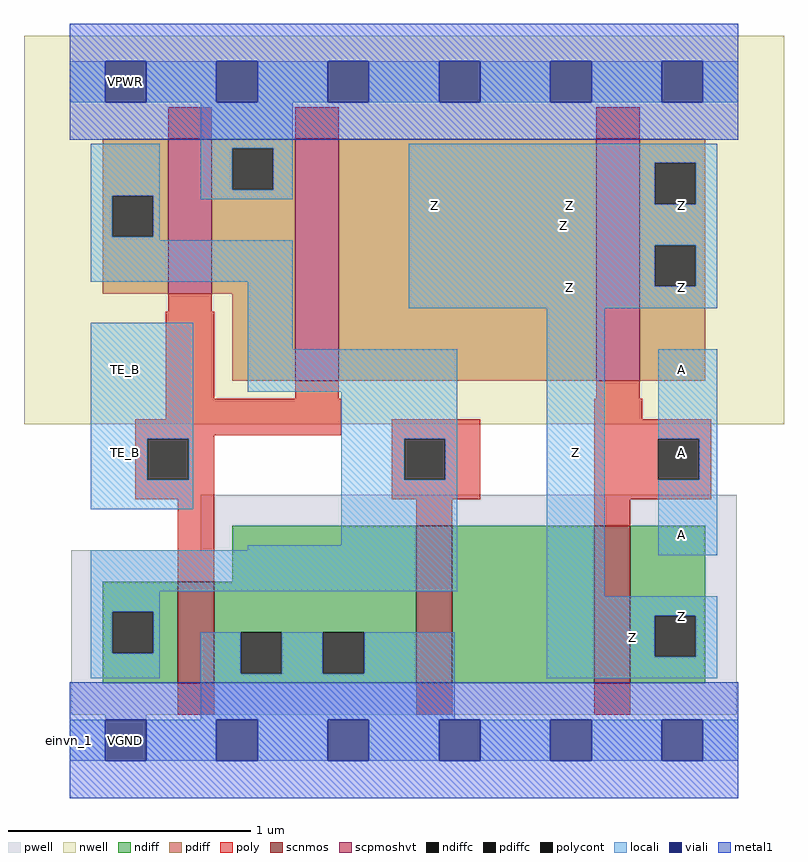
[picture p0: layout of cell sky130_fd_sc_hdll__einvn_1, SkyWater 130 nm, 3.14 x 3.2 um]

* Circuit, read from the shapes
.subckt sky130_fd_sc_hdll__einvn_1 A TE_B VGND VNB VPB VPWR Z
XM1 VGND TE_B n1 VNB sky130_fd_pr__nfet_01v8 w=0.42 l=0.15
XM2 n2 n1 VGND VNB sky130_fd_pr__nfet_01v8 w=0.65 l=0.15
XM3 Z A n2 VNB sky130_fd_pr__nfet_01v8 w=0.65 l=0.15
XM4 VPWR TE_B n1 VPB sky130_fd_pr__pfet_01v8_hvt w=0.64 l=0.18
XM5 n3 TE_B VPWR VPB sky130_fd_pr__pfet_01v8_hvt w=1 l=0.18
XM6 Z A n3 VPB sky130_fd_pr__pfet_01v8_hvt w=1 l=0.18
.ends

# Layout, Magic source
magic
tech sky130A
magscale 1 2
<< nwell >>
rect -38 261 590 582
<< pwell >>
rect 108 157 551 203
rect 1 21 551 157
rect 29 -17 63 21
<< scnmos >>
rect 89 47 119 131
rect 286 47 316 177
rect 433 47 463 177
<< scpmoshvt >>
rect 81 369 117 497
rect 186 297 222 497
rect 435 297 471 497
<< ndiff >>
rect 134 131 286 177
rect 27 106 89 131
rect 27 72 35 106
rect 69 72 89 106
rect 27 47 89 72
rect 119 89 286 131
rect 119 55 141 89
rect 175 55 209 89
rect 243 55 286 89
rect 119 47 286 55
rect 316 47 433 177
rect 463 103 525 177
rect 463 69 483 103
rect 517 69 525 103
rect 463 47 525 69
<< pdiff >>
rect 27 450 81 497
rect 27 416 35 450
rect 69 416 81 450
rect 27 369 81 416
rect 117 489 186 497
rect 117 455 134 489
rect 168 455 186 489
rect 117 369 186 455
rect 134 297 186 369
rect 222 297 435 497
rect 471 477 525 497
rect 471 443 483 477
rect 517 443 525 477
rect 471 409 525 443
rect 471 375 483 409
rect 517 375 525 409
rect 471 297 525 375
<< ndiffc >>
rect 35 72 69 106
rect 141 55 175 89
rect 209 55 243 89
rect 483 69 517 103
<< pdiffc >>
rect 35 416 69 450
rect 134 455 168 489
rect 483 443 517 477
rect 483 375 517 409
<< poly >>
rect 81 497 117 523
rect 186 497 222 523
rect 435 497 471 523
rect 81 354 117 369
rect 79 282 119 354
rect 186 282 222 297
rect 435 282 471 297
rect 79 265 224 282
rect 433 265 473 282
rect 54 252 224 265
rect 54 249 119 252
rect 54 215 64 249
rect 98 215 119 249
rect 54 199 119 215
rect 266 249 339 265
rect 266 215 276 249
rect 310 215 339 249
rect 266 199 339 215
rect 433 249 530 265
rect 433 215 486 249
rect 520 215 530 249
rect 433 199 530 215
rect 89 131 119 199
rect 286 177 316 199
rect 433 177 463 199
rect 89 21 119 47
rect 286 21 316 47
rect 433 21 463 47
<< polycont >>
rect 64 215 98 249
rect 276 215 310 249
rect 486 215 520 249
<< locali >>
rect 0 527 29 561
rect 63 527 121 561
rect 155 527 213 561
rect 247 527 305 561
rect 339 527 397 561
rect 431 527 489 561
rect 523 527 552 561
rect 17 450 74 493
rect 17 416 35 450
rect 69 416 74 450
rect 108 489 184 527
rect 108 455 134 489
rect 168 455 184 489
rect 108 447 184 455
rect 280 477 535 493
rect 17 413 74 416
rect 280 443 483 477
rect 517 443 535 477
rect 17 379 184 413
rect 17 249 102 345
rect 147 323 184 379
rect 280 409 535 443
rect 280 375 483 409
rect 517 375 535 409
rect 280 357 535 375
rect 147 288 320 323
rect 17 215 64 249
rect 98 215 102 249
rect 17 191 102 215
rect 224 249 320 288
rect 224 215 276 249
rect 310 215 320 249
rect 224 161 320 215
rect 147 157 320 161
rect 17 123 320 157
rect 17 106 74 123
rect 17 72 35 106
rect 69 72 74 106
rect 394 119 442 357
rect 486 249 535 323
rect 520 215 535 249
rect 486 153 535 215
rect 394 103 535 119
rect 17 51 74 72
rect 108 55 141 89
rect 175 55 209 89
rect 243 55 318 89
rect 108 17 318 55
rect 394 69 483 103
rect 517 69 535 103
rect 394 51 535 69
rect 0 -17 29 17
rect 63 -17 121 17
rect 155 -17 213 17
rect 247 -17 305 17
rect 339 -17 397 17
rect 431 -17 489 17
rect 523 -17 552 17
<< viali >>
rect 29 527 63 561
rect 121 527 155 561
rect 213 527 247 561
rect 305 527 339 561
rect 397 527 431 561
rect 489 527 523 561
rect 29 -17 63 17
rect 121 -17 155 17
rect 213 -17 247 17
rect 305 -17 339 17
rect 397 -17 431 17
rect 489 -17 523 17
<< metal1 >>
rect 0 561 552 592
rect 0 527 29 561
rect 63 527 121 561
rect 155 527 213 561
rect 247 527 305 561
rect 339 527 397 561
rect 431 527 489 561
rect 523 527 552 561
rect 0 496 552 527
rect 0 17 552 48
rect 0 -17 29 17
rect 63 -17 121 17
rect 155 -17 213 17
rect 247 -17 305 17
rect 339 -17 397 17
rect 431 -17 489 17
rect 523 -17 552 17
rect 0 -48 552 -17
<< labels >>
flabel locali s 394 119 442 357 0 FreeSans 200 0 0 0 Z
port 7 nsew signal output
flabel locali s 301 442 301 442 0 FreeSans 200 0 0 0 Z
port 7 nsew
flabel locali s 396 357 430 391 0 FreeSans 200 0 0 0 Z
port 7 nsew
flabel locali s 396 425 430 459 0 FreeSans 200 0 0 0 Z
port 7 nsew
flabel locali s 488 425 522 459 0 FreeSans 200 0 0 0 Z
port 7 nsew
flabel locali s 488 357 522 391 0 FreeSans 200 0 0 0 Z
port 7 nsew
flabel locali s 488 85 522 119 0 FreeSans 200 0 0 0 Z
port 7 nsew
flabel locali s 488 153 522 187 0 FreeSans 200 0 0 0 A
port 1 nsew signal input
flabel locali s 488 221 522 255 0 FreeSans 200 0 0 0 A
port 1 nsew signal input
flabel locali s 488 289 522 323 0 FreeSans 200 0 0 0 A
port 1 nsew signal input
flabel locali s 29 289 63 323 0 FreeSans 200 0 0 0 TE_B
port 2 nsew signal input
flabel locali s 29 221 63 255 0 FreeSans 200 0 0 0 TE_B
port 2 nsew signal input
flabel metal1 s 29 -17 63 17 0 FreeSans 200 0 0 0 VGND
port 3 nsew ground bidirectional
flabel metal1 s 29 527 63 561 0 FreeSans 200 0 0 0 VPWR
port 6 nsew power bidirectional
flabel nwell s 29 527 63 561 0 FreeSans 200 0 0 0 VPB
port 5 nsew power bidirectional
flabel pwell s 29 -17 63 17 0 FreeSans 200 0 0 0 VNB
port 4 nsew ground bidirectional
rlabel comment s 0 0 0 0 4 einvn_1
rlabel locali s 394 51 535 119 1 Z
port 7 nsew signal output
rlabel locali s 280 357 535 493 1 Z
port 7 nsew signal output
<< properties >>
string LEFsite unithd
string LEFclass CORE
string FIXED_BBOX 0 0 552 544
string GDS_FILE $PDKPATH/libs.ref/sky130_fd_sc_hdll/gds/sky130_fd_sc_hdll.gds
string LEFsymmetry X Y R90
string GDS_END 2032572
string GDS_START 2027234
string LEFproperties maskLayoutSubType "abstract" prCellType "standard" originalViewName "layout"
<< end >>
